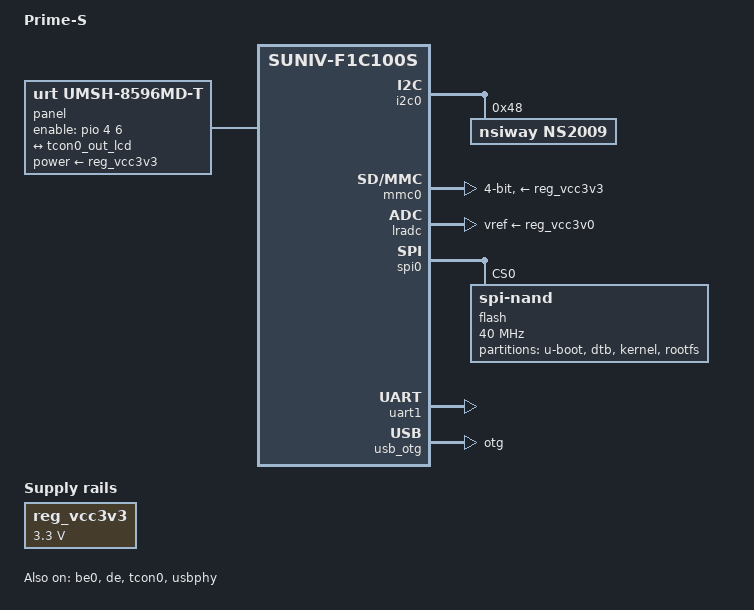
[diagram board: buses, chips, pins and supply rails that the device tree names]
// SPDX-License-Identifier: (GPL-2.0+ OR X11)
/*
 * Copyright 2018 Icenowy Zheng <icenowy@aosc.io>
 * Copyright 2025 SymTrioS <symtrios@mail.ru>
 */

/dts-v1/;
#include "suniv-f1c200s.dtsi"
#include <dt-bindings/gpio/gpio.h>
#include <dt-bindings/input/input.h>
#include <dt-bindings/interrupt-controller/irq.h>
#include "sunxi-common-regulators.dtsi"

/ {
	model = "Prime-S";
	compatible = "prime,prime-s", "allwinner,suniv-f1c100s";

	aliases {
		serial0 = &uart1;
		spi0 = &spi0;
	};

	chosen {
		stdout-path = "serial0:115200n8";
	};

	panel: panel {
                /* For 480x272 pix: */
                /* compatible = "qiaodian,qd43003c0-40","simple-panel"; */
                /* For 800x480 pix: */
                compatible = "urt,umsh-8596md-t","simple-panel";
		#address-cells = <1>;
		#size-cells = <0>;
		enable-gpios = <&pio 4 6 GPIO_ACTIVE_HIGH>;
		power-supply = <&reg_vcc3v3>;

 		port@0 {
			reg = <0>;
			#address-cells = <1>;
			#size-cells = <0>;

 			panel_input: endpoint@0 {
				reg = <0>;
				remote-endpoint = <&tcon0_out_lcd>;
			};
		};
	};

	reg_vcc3v3: vcc3v3 {
		compatible = "regulator-fixed";
		regulator-name = "vcc3v3";
		regulator-min-microvolt = <3300000>;
		regulator-max-microvolt = <3300000>;
	};
};

&be0 {
	status = "okay";
};

&de {
	status = "okay";
};

&i2c0 {
    pinctrl-0 = <&i2c0_pd_pins>;
    pinctrl-names = "default";
    status = "okay";

    ns2009: ns2009@48 {
	compatible = "nsiway,ns2009";
	reg = <0x48>;
    };
};

&mmc0 {
	vmmc-supply = <&reg_vcc3v3>;
	bus-width = <4>;
	broken-cd;
	status = "okay";
};

&lradc {
	vref-supply = <&reg_vcc3v0>;
	status = "okay";

	button-200 {
		label = "Volume Up";
		linux,code = <KEY_VOLUMEUP>;
		channel = <0>;
		voltage = <200000>;
	};

	button-400 {
		label = "Volume Down";
		linux,code = <KEY_VOLUMEDOWN>;
		channel = <0>;
		voltage = <400000>;
	};

	button-600 {
		label = "Select";
		linux,code = <KEY_SELECT>;
		channel = <0>;
		voltage = <600000>;
	};

	button-800 {
		label = "Start";
		linux,code = <KEY_OK>;
		channel = <0>;
		voltage = <800000>;
	};
};

&spi0 {
	pinctrl-names = "default";
	pinctrl-0 = <&spi0_pins_a>;
	status = "okay";
	
	flash: flash@0 {
		#address-cells = <1>;
		#size-cells = <1>;
		compatible = "spi-nand";
		reg = <0>;
		spi-max-frequency = <40000000>;
		partitions {
			compatible = "fixed-partitions";
			#address-cells = <1>;
			#size-cells = <1>;

			partition@0 {
				label = "u-boot";
				reg = <0x000000 0x100000>;
				read-only;
			};

			partition@100000 {
				label = "dtb";
				reg = <0x100000 0x10000>;
				read-only;
			};

			partition@110000 {
				label = "kernel";
				reg = <0x110000 0x400000>;
				read-only;
			};

			partition@510000 {
				label = "rootfs";
				reg = <0x510000 0x7AF0000>;
			};
		};
	};
};

&tcon0 {
	pinctrl-names = "default";
	pinctrl-0 = <&lcd_rgb666_pins>;
	status = "okay";
};

&tcon0_out {
	tcon0_out_lcd: endpoint@0 {
		reg = <0>;
		remote-endpoint = <&panel_input>;
	};
};

&uart1 {
	pinctrl-names = "default";
	pinctrl-0 = <&uart1_pa_pins>;
	status = "okay";
};

&otg_sram {
	status = "okay";
};

&usb_otg {
	dr_mode = "otg";
	status = "okay";
};

&usbphy {
	usb0_id_det-gpio = <&pio 4 2 GPIO_ACTIVE_HIGH>; /* PE2 */
	status = "okay";
};

